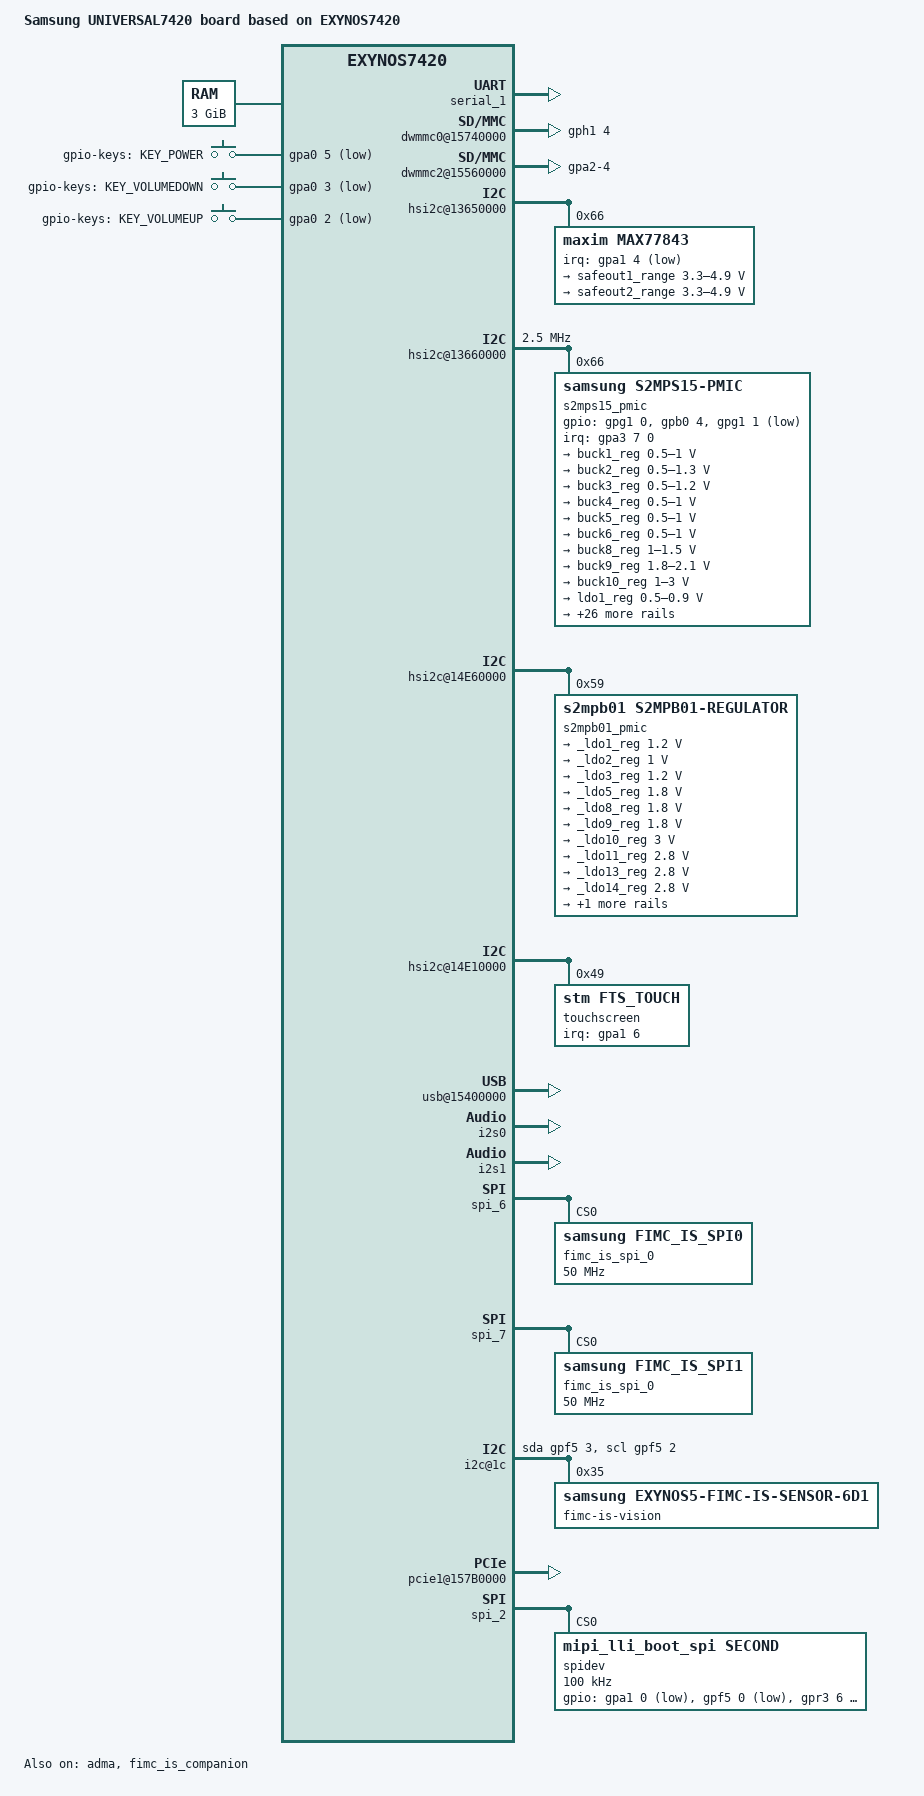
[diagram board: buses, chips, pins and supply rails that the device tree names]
/*
 * SAMSUNG UNIVERSAL7420 board device tree source
 *
 * Copyright (c) 2014 Samsung Electronics Co., Ltd.
 *		http://www.samsung.com
 *
 * This program is free software; you can redistribute it and/or modify
 * it under the terms of the GNU General Public License version 2 as
 * published by the Free Software Foundation.
*/

/dts-v1/;
#include "exynos7420.dtsi"
#include "exynos7420-universal7420_battery.dtsi"

/ {
	model = "Samsung UNIVERSAL7420 board based on EXYNOS7420";
	compatible = "samsung,exynos7420", "samsung,UNIVERSAL7420";

	memory@40000000 {
		device_type = "memory";
		reg = <0x40000000 0xC0000000>;
	};

	reserved-memory {
		#address-cells = <1>;
		#size-cells = <1>;
		ranges;

		common {
			compatible = "exynos5433-ion,common";
			size = <0x600000>;
			alignment = <0x1000>;
			id = <0>;
		};

		video {
			compatible = "exynos5433-ion,video";
			secure;
			reg = <0xE2A00000 0xE400000>;
			id = <11>;
			compat-id = <4 5 6 7>;
		};

		video_ext {
			compatible = "exynos5433-ion,video_ext";
			secure;
			reg = <0xF0E00000 0x600000>;
			id = <1>;
		};

		mfc_fw {
			compatible = "exynos5433-ion,mfc_fw";
			secure;
			reg = <0xE2800000 0x200000>;
			id = <8>;
		};

		mfc_nfw {
			compatible = "exynos5433-ion,mfc_nfw";
			reg = <0xE2600000 0x110000>;
			id = <12>;
		};

		secdma {
			compatible = "exynos5433-ion,secdma";
			size = <0x40000>;
			alignment = <0x40000>;
			id = <13>;
		};

		mipi_lli_reserved: mipi_lli {
			compatible = "mipi-lli-shmem";
			#memory-region-cells = <0>;
			size = <0x400000>;
			alignment = <0x400000>;
		};

		iram_vector {
			compatible = "mali,iram-vector";
			reg = <0xF2A00000 0x200000>;
		};

		sss_debug {
			compatible = "secure,sss-debug";
			reg = <0xF2C00000 0x100000>;
		};
	};

	aliases {
		spi0 = &spi_0;
		spi1 = &spi_1;
		spi2 = &spi_2;
		spi3 = &spi_3;
		spi4 = &spi_4;
		spi5 = &spi_5;
		spi6 = &spi_6;
		spi7 = &spi_7;
	};

	chosen {
		bootargs = "console=ttySAC1,115200n8 ess_setup=0x46000000";
		linux,initrd-start = <0x42000000>;
		linux,initrd-end = <0x420FFFFF>;
	};

	fixed-rate-clocks {
		oscclk {
			compatible = "samsung,exynos7420-oscclk";
			clock-frequency = <24000000>;
		};
	};

	ion {
		compatible = "samsung,exynos5430-ion";
	};

	serial_1: uart@14C20000 {
		/* Enable UART channel for debug port */
		status = "okay";
	};

	dwmmc0@15740000 {
		status = "okay";
		num-slots = <1>;
		broken-cd;
		use-smu;
		fixed_volt;
		biu-clock-gate;
		clock-gate;
		enable-cclk-on-suspend;
		only_once_tune;
		use-fine-tuning;
		bypass-for-allpass;
		supports-highspeed;
		supports-hs200-mode;
		supports-ddr200-mode;
		enable-cache-control;
		use-enable-shift;
		qos_int_level = <468000>;
		desc-size = <3>;
		fifo-depth = <0x40>;
		card-detect-delay = <200>;
		samsung,dw-mshc-ciu-div = <3>;
		samsung,dw-mshc-sdr-timing = <3 0 2 0>;
		samsung,dw-mshc-ddr-timing = <3 0 3 2>;
		samsung,dw-mshc-hs200-timing = <3 0 3 1>;
		samsung,dw-mshc-ddr200-timing = <1 0 2 2>;
		samsung,dw-mshc-ddr200-delay-line = <118>;
		clk_pin = "gpr0-0";
		clk_addr = "15690000.pinctrl";
		clk_val = <0x4>;
		clk_str_num = <6>;
		num-ref-clks = <8>;
		ciu_clkin = <25 50 50 100 200 100 200 400>;
		pinctrl-names = "default";
		pinctrl-0 = <&sd0_clk &sd0_cmd &sd0_rdqs &sd0_bus1 &sd0_bus4 &sd0_bus8>;
		gpios = <&gph1 4 0>;
		slot@0 {
			reg = <0>;
			bus-width = <8>;
		};
	};

	dwmmc2@15560000 {
		status = "okay";
		num-slots = <1>;
		supports-highspeed;
		enable-cclk-on-suspend;
		cd-type = <0>;
		bypass-smu;
		biu-clock-gate;
		clock-gate;
		use-fine-tuning;
		desc-size = <3>;
		fifo-depth = <0x40>;
		card-detect-delay = <200>;
		qos_int_level = <468000>;
		bypass-for-allpass;
		fix-fmp-size-mismatch;
		not-allow-single-dma;
		samsung,dw-mshc-ciu-div = <3>;
		samsung,dw-mshc-sdr-timing = <3 0 3 2>;
		samsung,dw-mshc-ddr-timing = <3 0 2 1>;
		clk_pin = "gpr4-0";
		clk_addr = "10E60000.pinctrl";
		clk_val = <0x2>;
		clk_str_num = <6>;
		num-ref-clks = <8>;
		ciu_clkin = <25 50 50 100 200 100 200 400>;
		pinctrl-names = "default";
		pinctrl-0 = <&sd2_clk &sd2_cmd &sd2_cd &sd2_bus1 &sd2_bus4 &dwmmc2_cd_ext_irq>;
		gpio-controller;
		#gpio-cells = <2>;
		cd-gpio = <&gpa2 4 0xf>;

		slot@0 {
			reg = <0>;
			bus-width = <4>;
			disable-wp;
		};
	};

	pinctrl@10580000 {
		dwmmc2_cd_ext_irq: dwmmc2_cd_ext_irq {
			samsung,pins = "gpa2-4";
			samsung,pin-function = <0xf>;
			samsung,pin-pud = <3>;
			samsung,pin-drv = <0>;
		};

		pmic_irq: pmic-irq {
			samsung,pins = "gpa3-7";
			samsung,pin-pud = <3>;
			samsung,pin-drv = <3>;
		};

		chg_irq: chg-irq {
			 samsung,pins = "gpa1-4";
			 samsung,pin-function = <0>;
			 samsung,pin-pud = <3>;
			 samsung,pin-drv = <3>;
		};

		cp_status: cp_status {
			samsung,pins = "gpa1-0";
			samsung,pin-function = <0xf>;
			samsung,pin-pud = <3>;
			samsung,pin-drv = <0>;
		};
	};

	pinctrl@14870000 {
		/* Warm reset information from AP */
		pm_wrsti: pm-wrsti {
			samsung,pins = "gpf3-0";
			samsung,pin-con-pdn = <3>;
		};

		/* smpl_warn */
		smpl_warn: smpl-warn {
			 samsung,pins = "gpg1-0";
			 samsung,pin-function = <0xf>;
		};

		cp_on: cp_on {
			samsung,pins = "gpf5-0";
			samsung,pin-function = <0x1>;
			samsung,pin-pud = <3>;
			samsung,pin-drv = <3>;
			samsung,pin-val = <0>;
	};

		cp_reset: cp_reset {
			samsung,pins = "gpf1-1";
			samsung,pin-function = <0x1>;
			samsung,pin-pud = <3>;
			samsung,pin-drv = <3>;
			samsung,pin-val = <0>;
		};

		cfg_wlanen: cfg-wlanen {
			samsung,pins = "gpf4-6";
			samsung,pin-function = <1>;
			samsung,pin-drv = <3>;
			samsung,pin-con-pdn = <3>;
		};
	};

	pinctrl@10E60000 {
		cp_off: cp_off {
			samsung,pins = "gpr3-6";
			samsung,pin-function = <0x1>;
			samsung,pin-pud = <3>;
			samsung,pin-drv = <3>;
			samsung,pin-val = <0>;
		};

	};
	hsi2c@13650000{
		max77843@66 {
			compatible = "maxim,max77843";
			reg = <0x66>;
			pinctrl-names = "default";
			pinctrl-0 = <&chg_irq>;
			max77843,irq-gpio = <&gpa1 4 1>;
			max77843,wakeup;

			regulators {
				ESAFEOUT1 {
					regulator-compatible = "safeout1";
					regulator-name = "safeout1_range";
					regulator-min-microvolt = <3300000>;
					regulator-max-microvolt = <4900000>;
					regulator-boot-on;
				};

				ESAFEOUT2 {
					regulator-compatible = "safeout2";
					regulator-name = "safeout2_range";
					regulator-min-microvolt = <3300000>;
					regulator-max-microvolt = <4900000>;
				};
			};
		};
	};

	hsi2c@13650000{
		status = "okay";

		max77843@66 {
			status = "okay";
		};
	};

	usb_notifier {
		compatible = "samsung,usb-notifier";
	};

        muic {
                status = "disabled";
                muic,support-list = "MHL","OTG","Charging Cable","Jig USB On","Jig UART Off",
                                    "Jig UART Off + VB","Jig UART On",
                                    "TA","USB","CDP","Unofficial","Undefined Charging",
                                    "Deskdock","Deskdock + VB",
                                    "Smartdock","Smartdock + VB","Smartdock + TA","Smartdock + USB",
                                    "TA or AFC","AFC charger Prepare","AFC charger 5V","AFC charger 9V",
                                    "Fuelgauge test","HMT";
                muic,afcmode-tx = /bits/ 8 <0x46>;
                muic,qc-hv = /bits/ 8 <0x9>;
	};


	hsi2c@13660000 {
		status = "okay";
		samsung,hs-mode;
		clock-frequency = <2500000>;
		samsung,use-apm;

		s2mps15_pmic@66 {
			compatible = "samsung,s2mps15-pmic";
			reg = <0x66>;
			interrupts = <7 0 0>;
			interrupt-parent = <&gpa3>;
			pinctrl-names = "default";
			pinctrl-0 = <&pmic_irq &pm_wrsti>;
			gpios = <&gpg1 0 0>, <&gpb0 4 0x2>, <&gpg1 1 0x1>;
			smpl_warn_en = <1>; /* 1 : enable , 0 : disable*/
			/* range of smpl_warn_vth */
			/* PMIC1 */
			/* 2100 : 2.3V, 2300 : 2.3V, 2500 : 2.5V, 2700 : 2.7V 2900 : 2.9V */
			/* 3100 : 3.0V, 3300 : 3.0V, 3500 : 3.0V */
			/* PMIC2 */
			/* 2100 : 2.1V, 2300 : 2.3V, 2500 : 2.5V, 2700 : 2.7V 2900 : 2.9V */
			/* 3100 : 3.1V, 3300 : 3.3V, 3500 : 3.5V */
			smpl_warn_vth = <2900>;
			smpl_warn_hys = <0x00>; /* LOwBat_Hys[4:3] 00(100mV)~11(400mV) */
			buck_dvs_on;
			g3d_en = <1>; /* 1 : enable , 0 : disable */
			dvs_en = <1>; /* 1 : enable , 0 : disable */
			buck6en_pin = "gpb0-4";
			buck6en_addr = "13470000.pinctrl";
			/* RTC: wtsr/smpl */
			wtsr_en = <1>; /* enable */
			smpl_en = <1>; /* enable */
			wtsr_timer_val = <3>;	/* 1000ms */
			smpl_timer_val = <4>;	/* 500ms */
			check_jigon = <0>; /* do not check jigon */
			/* RTC: If it's first boot, reset rtc to 1/1/2014 12:00:00(Wed) */
			init_time,sec = <0>;
			init_time,min = <0>;
			init_time,hour = <12>;
			init_time,mday = <1>;
			init_time,mon = <0>;
			init_time,year = <114>;
			init_time,wday = <3>;

			regulators {
				buck1_reg: BUCK1 {
					regulator-name = "vdd_mif";
					regulator-min-microvolt = <500000>;
					regulator-max-microvolt = <1000000>;
					regulator-always-on;
					regulator-ramp-delay = <12000>;
					regulator-initial-mode = <1>;
				};

				buck2_reg: BUCK2 {
					regulator-name = "vdd_atlas";
					regulator-min-microvolt = <500000>;
					regulator-max-microvolt = <1300000>;
					regulator-always-on;
					regulator-ramp-delay = <12000>;
					regulator-initial-mode = <1>;
				};

				buck3_reg: BUCK3 {
					regulator-name = "vdd_apollo";
					regulator-min-microvolt = <500000>;
					regulator-max-microvolt = <1200000>;
					regulator-always-on;
					regulator-ramp-delay = <12000>;
					regulator-initial-mode = <1>;
				};

				buck4_reg: BUCK4 {
					regulator-name = "vdd_int";
					regulator-min-microvolt = <500000>;
					regulator-max-microvolt = <1000000>;
					regulator-always-on;
					regulator-ramp-delay = <12000>;
					regulator-initial-mode = <1>;
				};

				buck5_reg: BUCK5 {
					regulator-name = "vdd_disp_cam0";
					regulator-min-microvolt = <500000>;
					regulator-max-microvolt = <1000000>;
					regulator-always-on;
					regulator-ramp-delay = <12000>;
					regulator-initial-mode = <1>;
				};

				buck6_reg: BUCK6 {
					regulator-name = "vdd_g3d";
					regulator-min-microvolt = <500000>;
					regulator-max-microvolt = <1000000>;
					regulator-always-on;
					regulator-ramp-delay = <12000>;
					regulator-initial-mode = <1>;
				};

				buck8_reg: BUCK8 {
					regulator-name = "vdd_lldo";
					regulator-min-microvolt = <1000000>;
					regulator-max-microvolt = <1500000>;
					regulator-always-on;
					regulator-ramp-delay = <12000>;
					regulator-initial-mode = <3>;
				};

				buck9_reg: BUCK9 {
					regulator-name = "vdd_mldo";
					regulator-min-microvolt = <1800000>;
					regulator-max-microvolt = <2100000>;
					regulator-always-on;
					regulator-ramp-delay = <12000>;
					regulator-initial-mode = <3>;
				};

				buck10_reg: BUCK10 {
					regulator-name = "vdd_lldo2";
					regulator-min-microvolt = <1000000>;
					regulator-max-microvolt = <3000000>;
					regulator-always-on;
					regulator-ramp-delay = <12000>;
					regulator-initial-mode = <1>;
				};

				ldo1_reg: LDO1 {
					regulator-name = "vdd_ldo1";
					regulator-min-microvolt = <500000>;
					regulator-max-microvolt = <900000>;
					regulator-ramp-delay = <12000>;
					regulator-initial-mode = <3>;
					regulator-always-on;
				};

				ldo2_reg: LDO2 {
					regulator-name = "vqmmc";
					regulator-min-microvolt = <1620000>;
					regulator-max-microvolt = <3300000>;
					regulator-ramp-delay = <12000>;
					regulator-initial-mode = <1>;
				};

				ldo3_reg: LDO3 {
					regulator-name = "vdd_ldo3";
					regulator-min-microvolt = <1620000>;
					regulator-max-microvolt = <1980000>;
					regulator-ramp-delay = <12000>;
					regulator-initial-mode = <3>;
					regulator-always-on;
				};

				ldo4_reg: LDO4 {
					regulator-name = "vdd_ldo4";
					regulator-min-microvolt = <800000>;
					regulator-max-microvolt = <1110000>;
					regulator-ramp-delay = <12000>;
					regulator-initial-mode = <1>;
					regulator-always-on;
				};

				ldo5_reg: LDO5 {
					regulator-name = "vdd_ldo5";
					regulator-min-microvolt = <1620000>;
					regulator-max-microvolt = <1980000>;
					regulator-always-on;
					regulator-initial-mode = <1>;
				};

				ldo6_reg: LDO6 {
					regulator-name = "vdd_ldo6";
					regulator-min-microvolt = <2250000>;
					regulator-max-microvolt = <3300000>;
					regulator-always-on;
					regulator-initial-mode = <1>;
				};

				ldo7_reg: LDO7 {
					regulator-name = "vdd_ldo7";
					regulator-min-microvolt = <700000>;
					regulator-max-microvolt = <1150000>;
					regulator-always-on;
					regulator-initial-mode = <1>;
				};

				ldo8_reg: LDO8 {
					regulator-name = "vdd_ldo8";
					regulator-min-microvolt = <700000>;
					regulator-max-microvolt = <1000000>;
					regulator-always-on;
					regulator-initial-mode = <1>;
				};

				ldo9_reg: LDO9 {
					regulator-name = "vdd_ldo9";
					regulator-min-microvolt = <700000>;
					regulator-max-microvolt = <1000000>;
					regulator-always-on;
					regulator-initial-mode = <1>;
				};

				ldo10_reg: LDO10 {
					regulator-name = "vdd_ldo10";
					regulator-min-microvolt = <700000>;
					regulator-max-microvolt = <1000000>;
					regulator-always-on;
					regulator-initial-mode = <1>;
				};

				ldo11_reg: LDO11 {
					regulator-name = "vdd_ldo11";
					regulator-min-microvolt = <1000000>;
					regulator-max-microvolt = <1300000>;
					regulator-always-on;
					regulator-initial-mode = <1>;
				};

				ldo12_reg: LDO12 {
					regulator-name = "vdd_ldo12";
					regulator-min-microvolt = <1000000>;
					regulator-max-microvolt = <1300000>;
					regulator-always-on;
					regulator-initial-mode = <1>;
				};

				ldo13_reg: LDO13 {
					regulator-name = "vdd_ldo13";
					regulator-min-microvolt = <1000000>;
					regulator-max-microvolt = <1300000>;
					regulator-always-on;
					regulator-initial-mode = <1>;
				};

				ldo14_reg: LDO14 {
					regulator-name = "vdd_ldo14";
					regulator-min-microvolt = <1800000>;
					regulator-max-microvolt = <3375000>;
					regulator-always-on;
					regulator-boot-on;
					regulator-initial-mode = <1>;
				};

				ldo15_reg: LDO15 {
					regulator-name = "vdd_ldo15";
					regulator-min-microvolt = <1500000>;
					regulator-max-microvolt = <2275000>;
					regulator-always-on;
					regulator-boot-on;
					regulator-initial-mode = <3>;
				};

				ldo16_reg: LDO16 {
					regulator-name = "vdd_ldo16";
					regulator-min-microvolt = <1800000>;
					regulator-max-microvolt = <1800000>;
					regulator-always-on;
					regulator-boot-on;
					regulator-initial-mode = <3>;
				};

				ldo17_reg: LDO17 {
					regulator-name = "vdd_ldo17";
					regulator-min-microvolt = <1800000>;
					regulator-max-microvolt = <3375000>;
					regulator-always-on;
					regulator-boot-on;
					regulator-initial-mode = <1>;
				};

				ldo18_reg: LDO18 {
					regulator-name = "vdd_ldo18";
					regulator-min-microvolt = <1500000>;
					regulator-max-microvolt = <2275000>;
					regulator-always-on;
					regulator-boot-on;
					regulator-initial-mode = <1>;
				};

				ldo19_reg: LDO19 {
					regulator-name = "vdd_ldo19";
					regulator-min-microvolt = <1800000>;
					regulator-max-microvolt = <3375000>;
					regulator-boot-on;
					regulator-always-on;
					regulator-initial-mode = <1>;
				};

				ldo20_reg: LDO20 {
					regulator-name = "vdd_ldo20";
					regulator-min-microvolt = <1500000>;
					regulator-max-microvolt = <2275000>;
					regulator-always-on;
					regulator-boot-on;
					regulator-initial-mode = <1>;
				};

				ldo21_reg: LDO21 {
					regulator-name = "tsp_avdd";
					regulator-min-microvolt = <1800000>;
					regulator-max-microvolt = <3375000>;
					regulator-boot-on;
					regulator-always-on;
					regulator-initial-mode = <1>;
				};

				ldo22_reg: LDO22 {
					regulator-name = "CAM_SEN_CORE_1.2V_AP";
					regulator-min-microvolt = <1200000>;
					regulator-max-microvolt = <1200000>;
					regulator-boot-on;
					regulator-always-on;
					regulator-initial-mode = <1>;
				};

				ldo23_reg: LDO23 {
					regulator-name = "tsp_io";
					regulator-min-microvolt = <1500000>;
					regulator-max-microvolt = <2275000>;
					regulator-boot-on;
					regulator-always-on;
					regulator-initial-mode = <1>;
				};

				ldo24_reg: LDO24 {
					regulator-name = "vdd_ldo24";
					regulator-min-microvolt = <1800000>;
					regulator-max-microvolt = <3375000>;
					regulator-boot-on;
					regulator-always-on;
					regulator-initial-mode = <1>;
				};

				ldo25_reg: LDO25 {
					regulator-name = "vmmc";
					regulator-min-microvolt = <1800000>;
					regulator-max-microvolt = <3375000>;
					regulator-boot-on;
					regulator-initial-mode = <1>;
				};

				ldo26_reg: LDO26 {
					regulator-name = "vdd_ldo26";
					regulator-min-microvolt = <700000>;
					regulator-max-microvolt = <1470000>;
					regulator-boot-on;
					regulator-always-on;
					regulator-initial-mode = <1>;
				};

				ldo27_reg: LDO27 {
					regulator-name = "vdd_ldo27";
					regulator-min-microvolt = <1500000>;
					regulator-max-microvolt = <2275000>;
					regulator-boot-on;
					regulator-always-on;
					regulator-initial-mode = <1>;
				};
			};
		};
	};

	hsi2c@14E60000 {
		status = "okay";

		s2mpb01_pmic@59 {
			compatible = "s2mpb01,s2mpb01-regulator";
			reg = <0x59>;

			regulators {
				_ldo1_reg: LDO1 {
					regulator-name = "VDDD_1.2V_CAM";
					regulator-min-microvolt = <1200000>;
					regulator-max-microvolt = <1200000>;
				};

				_ldo2_reg: LDO2 {
					regulator-name = "VDDD_MIPI_1.0V_COMP";
					regulator-min-microvolt = <1000000>;
					regulator-max-microvolt = <1000000>;
				};

				_ldo3_reg: LDO3 {
					regulator-name = "VDDD_1.2V_VT";
					regulator-min-microvolt = <1200000>;
					regulator-max-microvolt = <1200000>;
				};

				_ldo5_reg: LDO5 {
					regulator-name = "VDDIO_1.8V_VT";
					regulator-min-microvolt = <1800000>;
					regulator-max-microvolt = <1800000>;
				};

				_ldo8_reg: LDO8 {
					regulator-name = "VDDIO_1.8V_CAM";
					regulator-min-microvolt = <1800000>;
					regulator-max-microvolt = <1800000>;
				};

				_ldo9_reg: LDO9 {
					regulator-name = "VDDA_1.8V_COMP";
					regulator-min-microvolt = <1800000>;
					regulator-max-microvolt = <1800000>;
				};

				_ldo10_reg: LDO10 {
					regulator-name = "VDDA_3.0V_VT";
					regulator-min-microvolt = <3000000>;
					regulator-max-microvolt = <3000000>;
				};

				_ldo11_reg: LDO11 {
				regulator-name = "OIS_VM_2.8V";
					regulator-min-microvolt = <2800000>;
					regulator-max-microvolt = <2800000>;
				};

				_ldo13_reg: LDO13 {
					regulator-name = "VDDA_2.8V_CAM";
					regulator-min-microvolt = <2800000>;
					regulator-max-microvolt = <2800000>;
				};

				_ldo14_reg: LDO14 {
					regulator-name = "VDDAF_2.8V_CAM";
					regulator-min-microvolt = <2800000>;
					regulator-max-microvolt = <2800000>;
				};

				_ldo15_reg: LDO15 {
					regulator-name = "OIS_VDD_2.8V";
					regulator-min-microvolt = <2800000>;
					regulator-max-microvolt = <2800000>;
				};
			};
		};
	};

	pinctrl@10580000 {
		gpa2_pull_up: gpa2_pull_up {
			samsung,pins = "gpa2-2";
			samsung,pin-function = <0xf>;
			samsung,pin-pud = <3>;
			samsung,pin-drv = <0>;
		};
		attn_irq: attn-irq {
			samsung,pins = "gpa1-6";
			samsung,pin-function = <0xf>;
			samsung,pin-pud = <0>;
			samsung,pin-drv = <0>;
		};
		attn_input: attn-input {
			samsung,pins = "gpa1-6";
			samsung,pin-function = <0>;
			samsung,pin-pud = <1>;
			samsung,pin-drv = <0>;
		};
	};

	gpio_keys {
		compatible = "gpio-keys";
		#address-cells = <1>;
		#size-cells = <0>;
		pinctrl-names = "default";
		pinctrl-0 = <&gpa2_pull_up>;
		button@1 {
			label = "gpio-keys: KEY_POWER";
			interrupts = <5 0 0>;
			interrupt-parent = <&gpa0>;
			linux,code = <116>;
			gpios = <&gpa0 5 0xf>;
			gpio-key,wakeup = <1>;
		};
		button@2 {
			label = "gpio-keys: KEY_VOLUMEDOWN";
			interrupts = <3 0 0>;
			interrupt-parent = <&gpa0>;
			linux,code = <114>;
			gpios = <&gpa0 3 0xf>;
		};
		button@3 {
			label = "gpio-keys: KEY_VOLUMEUP";
			interrupts = <2 0 0>;
			interrupt-parent = <&gpa0>;
			linux,code = <115>;
			gpios = <&gpa0 2 0xf>;
		};
	};

	pinctrl@14CE0000 {
		i2c_pdn_off: i2c-pdn_off {
			samsung,pins = "gpj1-1", "gpj1-0";
			samsung,pin-con-pdn = <2>;
			samsung,pin-pud-pdn = <1>;
		};
	};

	hsi2c@14E10000 {
		status = "okay";
		touchscreen@20 {
			compatible = "stm,fts_touch";
			reg = <0x49>;
			pinctrl-names = "on_state", "off_state";
			pinctrl-0 = <&attn_irq>;
			pinctrl-1 = <&attn_input &i2c_pdn_off>;
			stm,irq_gpio = <&gpa1 6 0>;
			stm,irq_type = <8200>;
			stm,max_coords = <1599 2559>;	/* x y */
			stm,regulator_dvdd = "tsp_io";
			stm,regulator_avdd = "tsp_avdd";
			stm,firmware_name = "tsp_stm/stm_tb.fw";
		};
	};


	usb@15400000 {
		status = "okay";

		dwc3 {
			maximum-speed = "super-speed";
			dr_mode = "otg";
		};
	};

	ipa_pdata {
		compatible = "samsung,exynos-ipa";

		control_temp = <90>;
		temp_threshold = <30>;
		enabled = <1>;
		tdp = <3500>;
		boost = <1>;
		ros_power = <500>;
		little_weight = <1024>;
		big_weight = <256>;
		gpu_weight = <256>;
		little_max_power = <1000>;
		big_max_power = <6552>;
		gpu_max_power = <3110>;
		hotplug_out_threshold = <10>;
		hotplug_in_threshold = <0>;
		enable_ctlr = <1>;
		ctlr.mult = <2>;
		ctlr.k_i = <1>;
		ctlr.k_d = <0>;
		ctlr.feed_forward = <1>;
		ctlr.integral_reset_value = <0>;
		ctlr.integral_cutoff = <0>;
		ctlr.integral_reset_threshold = <10>;
	};

	decon_0: decon_fb {
		/* EINT for TE */
		gpios = <&gpg0 0 0xf>;
	};

	dsim_0: dsim@0x13900000 {
		lcd_info = <&s6e3hf2>;
		/* lcd reset, power */
		gpios = <&gpr3 0 0x1>, <&gpf3 2 0x1>, <&gpf4 3 0x1>;
	};

	s6e3hf2: s6e3hf2_wqxga {
		mode = <2>;		/* 0: video mode, 1: DP command mode, 2: MIPI command mode */
		resolution = <1600 2560>;
		size = <70 121>;
		timing,refresh = <60>;
		timing,h-porch = <1 1 1>;
		timing,v-porch = <20 1 1>;
		timing,dsi-hs-clk = <1100>;
		timing,dsi-escape-clk = <20>;
		mic = <1>;		/* 0: mic disable, 1: mic enable */
		mic_ver = <2>;		/* 0: mic v1.1, 1: v1.2, 2: v2.0 */
		type_of_ddi = <0>;	/* 0: Samsung Mobile, 1: MAGNA, 2: Normal(Etc) */
	};

	hdmi@13970000 {
		/* all bit clock supports: 1, not support: 0 */
		audio_master_clk = <1>;
		gpios = <&gpa3 0 0xf>;
	};

	pinctrl@10580000 {
		codec_irq: codec-irq {
			samsung,pins = "gpa2-5";
			samsung,pin-function = <0xf>;
			samsung,pin-pud = <3>;
		};
		codec_irq_idle: codec-irq-idle {
			samsung,pins = "gpa2-5";
			samsung,pin-function = <0x0>;
			samsung,pin-pud = <3>;
		};
	};

	pinctrl@14870000 {
		codec_reset: codec-reset {
			samsung,pins ="gpf4-0";
			samsung,pin-function = <1>;
			samsung,pin-pud = <1>;
			samsung,pin-con-pdn =<3>;
			samsung,pin-pud-pdn = <1>;
			samsung,pin-val = <0>;
		};
		codec_ldoena: codec-ldoena {
			samsung,pins ="gpf5-7";
			samsung,pin-function = <1>;
			samsung,pin-pud = <1>;
			samsung,pin-con-pdn =<3>;
			samsung,pin-pud-pdn = <1>;
			samsung,pin-val = <1>;
		};
	};

	i2s0: i2s@11440000 {
		/*samsung,supports-esa-dma;*/
		/*samsung,supports-sec-compr;*/
		status = "okay";
	};

	i2s1: i2s@14D60000 {
		status = "okay";
	};

	audio_codec_dummy: dummy-codec {
		compatible = "samsung,dummy-codec";
		status = "okay";
	};

	i2s_dummy: dummy-i2s {
		compatible = "samsung,dummy-i2s";
		status = "okay";
	};

	sound {
		compatible = "samsung,universal-dummy";
		pinctrl-names = "default", "idle";
		pinctrl-0 = <&codec_irq>;
		pinctrl-1 = <&codec_irq_idle>;
		samsung,audio-cpu = <&i2s0               /* primary */
				     &i2s0>;             /* secondary */
		samsung,audio-cpu-hdmi = <&i2s1>;        /* hdmi */
		samsung,audio-codec = <&audio_codec_dummy
				       &audio_codec_dummy
				       &audio_codec_dummy>;
		status = "okay";
	};

	amba {
		adma: adma@11420000 {
			compatible = "arm,pl330", "arm,primecell";
			reg = <0x11420000 0x1000>;
			interrupts = <0 97 0>;
			clocks = <&clock 400>;
			clock-names = "apb_pclk";
			#dma-cells = <1>;
			#dma-channels = <8>;
			#dma-requests = <16>;
			#dma-mcode-addr = <0x03046000>;
			samsung,lpass-subip;
			status = "ok";
		};
	};

	spi_6: spi@14390000 {
		/*clocks = <&clock 2626>, <&clock 4083>;*/ /* Workaround for SPI read in A5 */
		/* clock-names = "spi", "spi_busclk0";*/   /* Must be removed later */
		#address-cells = <1>;
		#size-cells = <0>;

		num-cs = <1>;

		fimc_is_spi_0@0 {
			compatible = "samsung,fimc_is_spi0";
			fimc_is_spi_clk = "gpc3-0";
			fimc_is_spi_ssn = "gpc3-1";
			fimc_is_spi_miso = "gpc3-2";
			fimc_is_spi_mosi = "gpc3-3";
			spi-max-frequency = <50000000>;
			reg = <0x0>;

			controller-data {
				cs-gpio = <&gpc0 6 0>;
				samsung,spi-feedback-delay = <0>;
			};
		};
	};

	spi_7: spi@143A0000 {
		/*clocks = <&clock 2626>, <&clock 4083>;*/ /* Workaround for SPI read in A5 */
		/* clock-names = "spi", "spi_busclk0";*/   /* Must be removed later */
		#address-cells = <1>;
		#size-cells = <0>;

		num-cs = <1>;

		fimc_is_spi_0@0 {
			compatible = "samsung,fimc_is_spi1";
			fimc_is_spi_clk = "gpc3-4";
			fimc_is_spi_ssn = "gpc3-5";
			fimc_is_spi_miso = "gpc3-6";
			fimc_is_spi_mosi = "gpc3-7";
			spi-max-frequency = <50000000>;
			reg = <0x0>;
			/*pinctrl-names = "default";
			pinctrl-0 = <&fimc_is_comp_int>;*/

			controller-data {
				cs-gpio = <&gpc3 5 0>;
				samsung,spi-feedback-delay = <0>;
			};
		};
	};

	i2c@1c {
		compatible = "i2c-gpio";
		gpios = <&gpf5 3 0 &gpf5 2 0>;
		i2c-gpio,delay-us = <2>;
		#address-cells = <1>;
		#size-cells = <0>;
		pinctrl-names = "default";
		pinctrl-0 = <&fimc_is_vision>;
		status = "okay";
		fimc-is-vision@20 {
			compatible = "samsung,exynos5-fimc-is-sensor-6d1";
			reg = <0x35>;
		};
	};

	/* Companion driver */
	fimc_is_companion: fimc_is_companion@14020000 {
		pinctrl-names = "pin0", "pin1";
		pinctrl-0 = <&fimc_is_mclk0_fn>;
		pinctrl-1 = <&fimc_is_mclk0_in>;

		compatible = "samsung,exynos5-fimc-is-companion";
		samsung,power-domain = <&pd_cam1>;
		clock-names =
			/* SENSOR0 MCLK */
			"sclk_isp_sensor0",				/* 16 */
			"dout_sclk_isp_sensor0",		/* 20 */
			"mout_sclk_isp_sensor0",		/* 23 */

			/* SPI-ISP */
			"gate_isp_spi1",                /* 2625 */
			"gate_isp_spi0",                /* 2626 */
			"dout_sclk_isp_spi0",			/* 2030 */
			"dout_sclk_isp_spi1",			/* 2031 */
			"mout_user_mux_sclk_isp_spi0",	/* 3296 */
			"mout_user_mux_sclk_isp_spi1",	/* 3297 */

			"dout_clkdiv_pclk_cam1_busperi_167",	/* 3317 */
			"dout_clkdiv_pclk_cam1_busperi_84", 	/* 3318 */
			"mout_user_mux_aclk_cam1_busperi_334",	/* 3292 */
			"mout_user_mux_aclk_cam1_bnscsis_133",	/* 3293 */

			/* CMU TOP */
			"dout_aclk_cam1_333",           /* 4047 */

			/* USER_MUX_SEL */
			"aclk_cam1_333",                /* 342 */
			"mout_aclk_cam1_333_user";		/* 3225 */
		clocks =
			/* SENSOR0 MCLK */
			<&clock 16>,
			<&clock 20>,
			<&clock 23>,

			/* SPI-ISP */
			<&clock 2625>,
			<&clock 2626>,
			<&clock 2030>,
			<&clock 2031>,
			<&clock 3296>,
			<&clock 3297>,

			<&clock 3317>,
			<&clock 3318>,
			<&clock 3292>,
			<&clock 3293>,

			/* CMU TOP */
			<&clock 4047>,

			/* USER_MUX_SEL */
			<&clock 342>,
			<&clock 3225>;
		scenario = <0>;
		mclk_ch = <0>;
		spi_ch = <1>;
		gpio_reset = <&gpc0 1 0x1>; /* sensor reset */
		gpio_comp_reset = <&gpc0 6 0x1>; /* companion reset */
		status = "okay";
	};

	fimc_is_sensor0: fimc_is_sensor@14020000 {
		pinctrl-names = "pin0", "pin1";
		pinctrl-0 = <&fimc_is_i2c0 &fimc_is_i2c2>;
		pinctrl-1 = <&fimc_is_i2c0 &fimc_is_i2c2>;

		scenario = <0>;
		gpio_reset = <&gpc0 1 0x1>;
		id = <0>;
		mclk_ch = <0>;
		csi_ch = <0>;
		flite_ch = <0>;
		i2c_ch = <0x0200>;
		i2c_addr = <0x3434>;
		flash_first_gpio = <2>;
		flash_second_gpio = <3>;
		is_bns = <1>;
		status = "okay";
	};

	fimc_is_sensor1: fimc_is_sensor@14030000 {
		pinctrl-names = "pin0", "pin1";
		pinctrl-0 = <&fimc_is_mclk2_fn &fimc_is_i2c1>;
		pinctrl-1 = <&fimc_is_mclk2_in &fimc_is_i2c1>;

		scenario = <0>;
		gpio_reset = <&gpc0 4 0x1>;
		gpio_standby = <&gpc0 0 0x1>;
		id = <1>;
		mclk_ch = <2>;
		csi_ch = <1>;
		flite_ch = <1>;
		i2c_ch = <1>;
		i2c_addr = <0x6A>;
		is_bns = <0>;
		status = "okay";
	};

	fimc_is_sensor2: fimc_is_sensor@14110000 {
		pinctrl-names = "pin0", "pin1";
		pinctrl-0 = <&fimc_is_mclk2_fn &fimc_is_i2c1>;
		pinctrl-1 = <&fimc_is_mclk2_in &fimc_is_i2c1>;

		scenario = <0>;
		gpio_reset = <&gpc0 1 0x1>;
		id = <2>;
		mclk_ch = <2>;
		csi_ch = <2>;
		flite_ch = <2>;
		i2c_ch = <0x0000>;
		i2c_addr = <0x0000>;
		flash_first_gpio = <0>;
		flash_second_gpio = <0>;
		is_bns = <1>;
		status = "okay";
	};

	fimc_is_sensor3: fimc_is_sensor@14040000 {
		pinctrl-names = "pin0", "pin1";
		pinctrl-0 = <&fimc_is_mclk2_fn &fimc_is_i2c1>;
		pinctrl-1 = <&fimc_is_mclk2_in &fimc_is_i2c1>;

		scenario = <0>;
		gpio_reset = <&gpc0 4 0x1>;
		gpio_standby = <&gpc0 0 0x1>;
		id = <3>;
		mclk_ch = <3>;
		csi_ch = <3>;
		flite_ch = <3>;
		i2c_ch = <0x0000>;
		i2c_addr = <0x0000>;
		is_bns = <0>;
		status = "okay";
	};

	fimc_is@14200000 {
		#define DVFS_INT_L0 560000
		#define DVFS_INT_L1 550000
		#define DVFS_INT_L2 540000
		#define DVFS_INT_L3 530000
		#define DVFS_INT_L4 520000
		#define DVFS_INT_L5 510000

		#define DVFS_CAM_L0 550000
		#define DVFS_CAM_L1 540000
		#define DVFS_CAM_L2 530000
		#define DVFS_CAM_L3 520000
		#define DVFS_CAM_L4 510000
		#define DVFS_CAM_L5 500000

		#define DVFS_MIF_L0 1552000
		#define DVFS_MIF_L1 1456000
		#define DVFS_MIF_L2 1264000
		#define DVFS_MIF_L3 1068000
		#define DVFS_MIF_L4 828000
		#define DVFS_MIF_L5 632000

		fimc_is_dvfs {
			default_int = <DVFS_INT_L4>;
			default_cam = <DVFS_CAM_L1>;
			default_mif = <DVFS_MIF_L5>;
			default_i2c = <0>;

			front_preview_int = <DVFS_INT_L3>;
			front_preview_cam = <DVFS_CAM_L5>;
			front_preview_mif = <DVFS_MIF_L5>;
			front_preview_i2c = <0>;

			front_capture_int = <DVFS_INT_L3>;
			front_capture_cam = <DVFS_CAM_L5>;
			front_capture_mif = <DVFS_MIF_L5>;
			front_capture_i2c = <0>;

			front_video_int = <DVFS_INT_L3>;
			front_video_cam = <DVFS_CAM_L5>;
			front_video_mif = <DVFS_MIF_L5>;
			front_video_i2c = <0>;

			front_video_whd_int = <DVFS_INT_L3>;
			front_video_whd_cam = <DVFS_CAM_L5>;
			front_video_whd_mif = <DVFS_MIF_L5>;
			front_video_whd_i2c = <0>;

			front_video_capture_int = <DVFS_INT_L3>;
			front_video_capture_cam = <DVFS_CAM_L5>;
			front_video_capture_mif = <DVFS_MIF_L5>;
			front_video_capture_i2c = <0>;

			front_video_whd_capture_int = <DVFS_INT_L3>;
			front_video_whd_capture_cam = <DVFS_CAM_L5>;
			front_video_whd_capture_mif = <DVFS_MIF_L5>;
			front_video_whd_capture_i2c = <0>;

			front_vt1_int = <DVFS_INT_L3>;
			front_vt1_cam = <DVFS_CAM_L5>;
			front_vt1_mif = <DVFS_MIF_L5>;
			front_vt1_i2c = <0>;

			front_vt2_int = <DVFS_INT_L3>;
			front_vt2_cam = <DVFS_CAM_L5>;
			front_vt2_mif = <DVFS_MIF_L5>;
			front_vt2_i2c = <0>;

			front_companion_preview_int = <DVFS_INT_L3>;
			front_companion_preview_cam = <DVFS_CAM_L5>;
			front_companion_preview_mif = <DVFS_MIF_L5>;
			front_companion_preview_i2c = <0>;

			front_companion_capture_int = <DVFS_INT_L3>;
			front_companion_capture_cam = <DVFS_CAM_L5>;
			front_companion_capture_mif = <DVFS_MIF_L5>;
			front_companion_capture_i2c = <0>;

			front_companion_video_int = <DVFS_INT_L3>;
			front_companion_video_cam = <DVFS_CAM_L5>;
			front_companion_video_mif = <DVFS_MIF_L5>;
			front_companion_video_i2c = <0>;

			front_companion_video_whd_int = <DVFS_INT_L3>;
			front_companion_video_whd_cam = <DVFS_CAM_L5>;
			front_companion_video_whd_mif = <DVFS_MIF_L5>;
			front_companion_video_whd_i2c = <0>;

			front_companion_video_capture_int = <DVFS_INT_L3>;
			front_companion_video_capture_cam = <DVFS_CAM_L5>;
			front_companion_video_capture_mif = <DVFS_MIF_L5>;
			front_companion_video_capture_i2c = <0>;

			front_companion_video_whd_capture_int = <DVFS_INT_L3>;
			front_companion_video_whd_capture_cam = <DVFS_CAM_L5>;
			front_companion_video_whd_capture_mif = <DVFS_MIF_L5>;
			front_companion_video_whd_capture_i2c = <0>;

			rear_preview_fhd_int = <DVFS_INT_L4>;
			rear_preview_fhd_cam = <DVFS_CAM_L1>;
			rear_preview_fhd_mif = <DVFS_MIF_L5>;
			rear_preview_fhd_i2c = <0>;

			rear_preview_whd_int = <DVFS_INT_L4>;
			rear_preview_whd_cam = <DVFS_CAM_L1>;
			rear_preview_whd_mif = <DVFS_MIF_L5>;
			rear_preview_whd_i2c = <0>;

			rear_preview_uhd_int = <DVFS_INT_L1>;
			rear_preview_uhd_cam = <DVFS_CAM_L1>;
			rear_preview_uhd_mif = <DVFS_MIF_L5>;
			rear_preview_uhd_i2c = <0>;

			rear_capture_int = <DVFS_INT_L4>;
			rear_capture_cam = <DVFS_CAM_L1>;
			rear_capture_mif = <DVFS_MIF_L5>;
			rear_capture_i2c = <0>;

			rear_video_fhd_int = <DVFS_INT_L5>;
			rear_video_fhd_cam = <DVFS_CAM_L1>;
			rear_video_fhd_mif = <DVFS_MIF_L5>;
			rear_video_fhd_i2c = <0>;

			rear_video_uhd_int = <DVFS_INT_L1>;
			rear_video_uhd_cam = <DVFS_CAM_L1>;
			rear_video_uhd_mif = <DVFS_MIF_L5>;
			rear_video_uhd_i2c = <0>;

			rear_video_fhd_capture_int = <DVFS_INT_L5>;
			rear_video_fhd_capture_cam = <DVFS_CAM_L1>;
			rear_video_fhd_capture_mif = <DVFS_MIF_L5>;
			rear_video_fhd_capture_i2c = <0>;

			rear_video_uhd_capture_int = <DVFS_INT_L1>;
			rear_video_uhd_capture_cam = <DVFS_CAM_L1>;
			rear_video_uhd_capture_mif = <DVFS_MIF_L5>;
			rear_video_uhd_capture_i2c = <0>;

			dual_preview_int = <DVFS_INT_L2>;
			dual_preview_cam = <DVFS_CAM_L2>;
			dual_preview_mif = <DVFS_MIF_L5>;
			dual_preview_i2c = <0>;

			dual_capture_int = <DVFS_INT_L2>;
			dual_capture_cam = <DVFS_CAM_L2>;
			dual_capture_mif = <DVFS_MIF_L5>;
			dual_capture_i2c = <0>;

			dual_video_int = <DVFS_INT_L5>;
			dual_video_cam = <DVFS_CAM_L2>;
			dual_video_mif = <DVFS_MIF_L5>;
			dual_video_i2c = <0>;

			dual_video_capture_int = <DVFS_INT_L5>;
			dual_video_capture_cam = <DVFS_CAM_L2>;
			dual_video_capture_mif = <DVFS_MIF_L5>;
			dual_video_capture_i2c = <0>;

			preview_high_speed_fps_int = <DVFS_INT_L2>;
			preview_high_speed_fps_cam = <DVFS_CAM_L4>;
			preview_high_speed_fps_mif = <DVFS_MIF_L1>;
			preview_high_speed_fps_i2c = <0>;

			video_high_speed_fps_int = <DVFS_INT_L2>;
			video_high_speed_fps_cam = <DVFS_CAM_L4>;
			video_high_speed_fps_mif = <DVFS_MIF_L4>;
			video_high_speed_fps_i2c = <0>;

			max_int = <DVFS_INT_L0>;
			max_cam = <DVFS_CAM_L0>;
			max_mif = <DVFS_MIF_L5>;
			max_i2c = <0>;
		};
	};

	pcie0@155C0000 {
		status = "disabled";
	};

	pcie1@157B0000 {
		pcie,wlan-gpio = <&gpf4 6 0x1 /* WLAN_EN */ >;
		pcie,bt-gpio = <&gpf4 1 0x1 /* BT_EN */ >;
		status = "okay";
	};

	spi_2: spi@14d40000 {
		#address-cells = <1>;
		#size-cells = <0>;
		status = "okay";

		spidev@0 {
			#address-celss = <1>;
			#size-cells = <1>;
			compatible = "mipi_lli_boot_spi,second";
			reg = <0x0>;
			spi-max-frequency = <100000>;
			pinctrl-names = "default";
			pinctrl-0 = <&cp_status>, <&cp_on>, <&cp_off>, <&cp_reset>;
			gpios = <&gpa1 0 0xf>, <&gpf5 0 0x1>, <&gpr3 6 0x0>, <&gpf1 1 0x1>;
			controller-data {
				samsung,spi-feedback-delay = <0>;
				samsung,spi-chip-select-mode = <1>;
			};
		};
	};

	mipi-lli@10F24000 {
		status = "okay";
		memory-region = <&mipi_lli_reserved>;
		modem-name = "ss333";
		modems {
			ss300 {
				/* disable scrambler */
				scrambler = <0>;
				/* do not control automode by AP */
				automode = <0>;
			};

			ss303 {
				/* disable scrambler */
				scrambler = <0>;
				/* do not control automode by AP */
				automode = <0>;
			};

			ss333 {
				/* disable scrambler */
				scrambler = <0>;
				/* do not control automode by AP */
				automode = <0>;
			};

			xmm7260 {
				/* disable scrambler */
				scrambler = <0>;
				/* do not control automode by AP */
				automode = <0>;
			};
		};

		mphy {
			modem-name = "ss333";
			modems {
				ss300 {
					/* initial-gear is HS-G1 */
					init-gear = <2 1 1>;
					/* use shared reference clock for MPHY */
					shd-refclk = <1>;
				};

				ss303 {
					/* initial-gear is HS-G1 */
					init-gear = <2 1 1>;
					/* use shared reference clock for MPHY */
					shd-refclk = <1>;
				};

				ss333 {
					/* initial-gear is HS-G2 */
					init-gear = <2 2 1>;
					/* use shared reference clock for MPHY */
					shd-refclk = <1>;
				};

				xmm7260 {
					/* initial-gear is HS-G1 */
					init-gear = <2 1 1>;
					/* use shared reference clock for MPHY */
					shd-refclk = <1>;
				};
			};
		};
	};

	ufs@0x15570000 {
		status = "okay";
		ufs,pmd-attr-mode = "FAST";
		ufs,pmd-attr-lane = /bits/ 8 <2>;
		ufs,pmd-attr-gear = /bits/ 8 <2>;
		ufs,pmd-attr-hs-series = "HS_rate_b";
		ufs-use-of-shark-evt0;
		ufs-opts-skip-connection-estab;
	};
};
